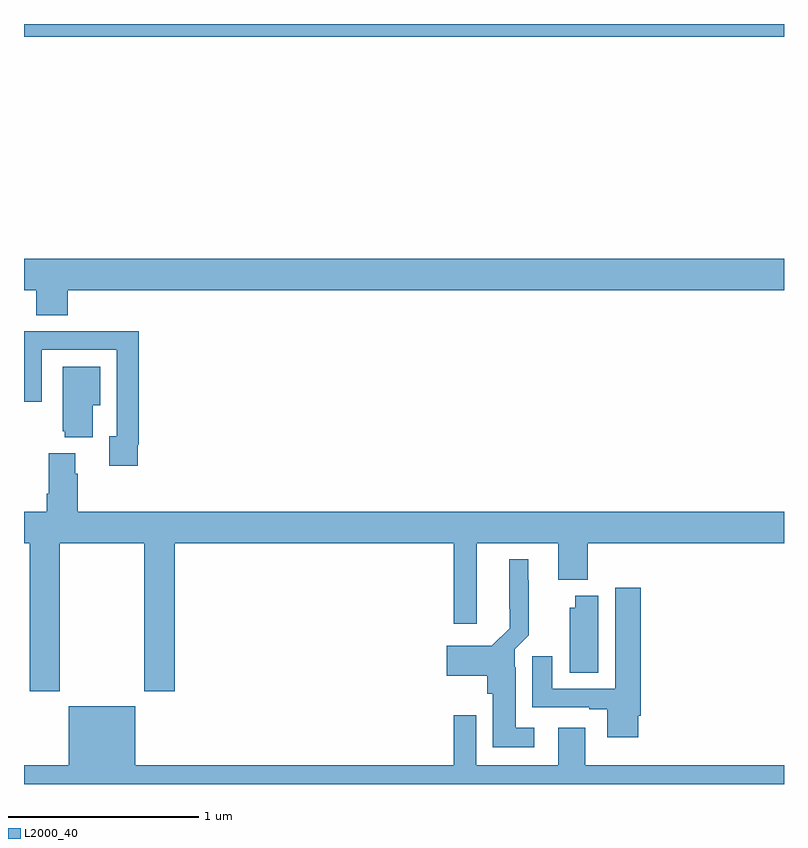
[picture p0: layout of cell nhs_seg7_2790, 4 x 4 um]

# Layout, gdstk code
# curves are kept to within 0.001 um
import gdstk
lib = gdstk.Library(unit=1e-6, precision=1e-09)
def R(c, l, rs):  # rectangles x0, y0, x1, y1
    for r in rs: c.add(gdstk.rectangle(r[:2], r[2:], *l))
def P(c, l, *ps):  # polygons
    for p in ps: c.add(gdstk.Polygon(p, *l))
L2000_40 = (2000, 40)

nhs_seg7_2790 = lib.new_cell('nhs_seg7_2790')
R(nhs_seg7_2790, L2000_40, [(291,1017.932,295,1018)])
P(nhs_seg7_2790, L2000_40, [(291.23,1016.6),(295,1016.6),(295,1016.764),(291,1016.764),(291,1016.6),(291.065,1016.6),(291.065,1016.467),(291.23,1016.467)],
  [(291.598,1015.786),(291.605,1015.786),(291.605,1016.384),(291.313,1016.384),(291.313,1016.382),(291,1016.382),(291,1016.013),(291.093,1016.013),(291.093,1016.286),(291.489,1016.286),(291.489,1015.83),(291.449,1015.83),(291.449,1015.674),(291.598,1015.674)],
  [(291.361,1015.994),(291.4,1015.994),(291.4,1016.197),(291.203,1016.197),(291.203,1015.857),(291.215,1015.857),(291.215,1015.826),(291.361,1015.826)],
  [(291.271,1015.634),(291.271,1015.741),(291.131,1015.741),(291.131,1015.528),(291.119,1015.528),(291.119,1015.432),(291,1015.432),(291,1015.268),(291.029,1015.268),(291.029,1014.489),(291.189,1014.489),(291.189,1015.268),(291.634,1015.268),(291.634,1014.489),(291.794,1014.489),(291.794,1015.268),(293.261,1015.268),(293.261,1014.843),(293.383,1014.843),(293.383,1015.268),(293.813,1015.268),(293.813,1015.076),(293.966,1015.076),(293.966,1015.268),(295,1015.268),(295,1015.432),(291.284,1015.432),(291.284,1015.634)],
  [(293.686,1014.295),(293.587,1014.295),(293.587,1014.614),(293.583,1014.614),(293.583,1014.708),(293.657,1014.782),(293.657,1015.073),(293.653,1015.073),(293.653,1015.183),(293.555,1015.183),(293.556,1014.82),(293.463,1014.727),(293.226,1014.727),(293.226,1014.569),(293.438,1014.569),(293.438,1014.474),(293.468,1014.474),(293.468,1014.194),(293.686,1014.194)],
  [(294.232,1014.358),(294.245,1014.358),(294.245,1015.033),(294.113,1015.033),(294.113,1014.501),(293.779,1014.501),(293.779,1014.673),(293.675,1014.673),(293.675,1014.405),(293.975,1014.405),(293.975,1014.393),(294.071,1014.393),(294.071,1014.246),(294.232,1014.246)],
  [(294.022,1014.991),(293.9,1014.991),(293.9,1014.927),(293.873,1014.927),(293.873,1014.586),(294.022,1014.586)],
  [(295,1014.1),(293.953,1014.1),(293.953,1014.295),(293.813,1014.295),(293.813,1014.1),(293.379,1014.1),(293.379,1014.361),(293.263,1014.361),(293.263,1014.1),(291.586,1014.1),(291.586,1014.409),(291.236,1014.409),(291.236,1014.1),(291,1014.1),(291,1014),(295,1014)])

lib.write_gds('nhs_seg7_2790.gds')
